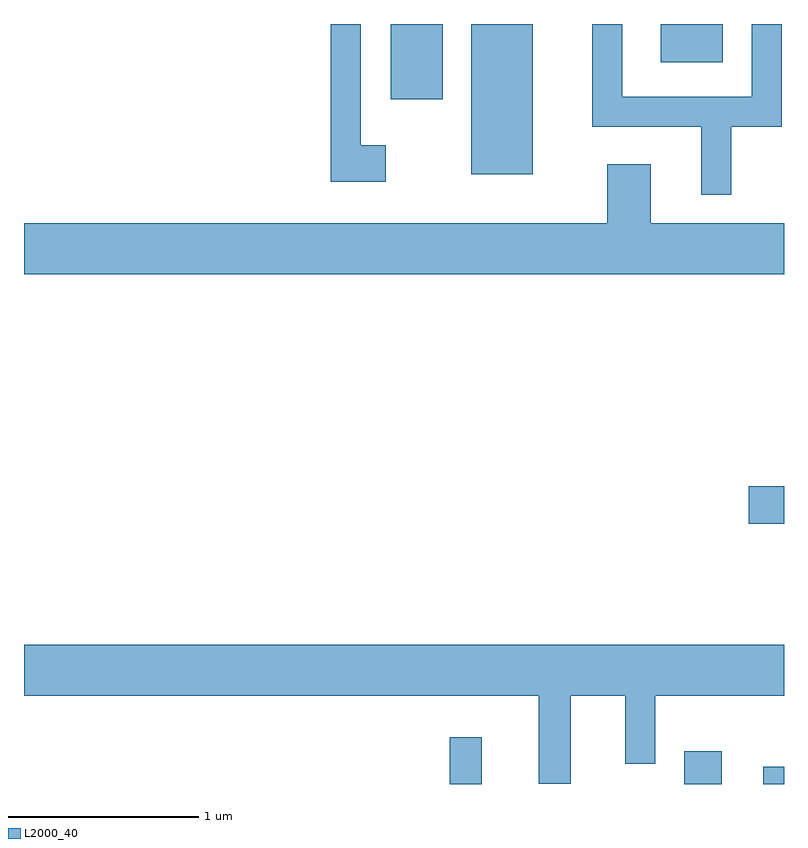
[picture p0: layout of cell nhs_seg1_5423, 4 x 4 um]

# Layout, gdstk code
import gdstk
lib = gdstk.Library(unit=1e-6, precision=1e-09)
def R(c, l, rs):  # rectangles x0, y0, x1, y1
    for r in rs: c.add(gdstk.rectangle(r[:2], r[2:], *l))
def P(c, l, *ps):  # polygons
    for p in ps: c.add(gdstk.Polygon(p, *l))
L2000_40 = (2000, 40)

nhs_seg1_5423 = lib.new_cell('nhs_seg1_5423')
R(nhs_seg1_5423, L2000_40, [(349.851,965.712,350.019,965.958), (351.086,965.712,351.284,965.884), (351.503,965.712,351.611,965.804), (351.426,967.081,351.611,967.279), (349.966,968.921,350.289,969.712), (349.541,969.316,349.814,969.712), (350.961,969.511,351.289,969.712)])
P(nhs_seg1_5423, L2000_40, [(349.514,969.074),(349.384,969.074),(349.384,969.712),(349.226,969.712),(349.226,968.881),(349.514,968.881)],
  [(351.334,969.171),(351.599,969.171),(351.599,969.712),(351.441,969.712),(351.441,969.329),(350.759,969.329),(350.759,969.712),(350.601,969.712),(350.601,969.171),(351.176,969.171),(351.176,968.813),(351.334,968.813)],
  [(351.611,968.664),(350.909,968.664),(350.909,968.974),(350.681,968.974),(350.681,968.664),(347.611,968.664),(347.611,968.396),(351.611,968.396)],
  [(350.489,966.176),(350.776,966.176),(350.776,965.818),(350.934,965.818),(350.934,966.176),(351.611,966.176),(351.611,966.444),(347.611,966.444),(347.611,966.176),(350.321,966.176),(350.321,965.713),(350.489,965.713)])

lib.write_gds('nhs_seg1_5423.gds')
